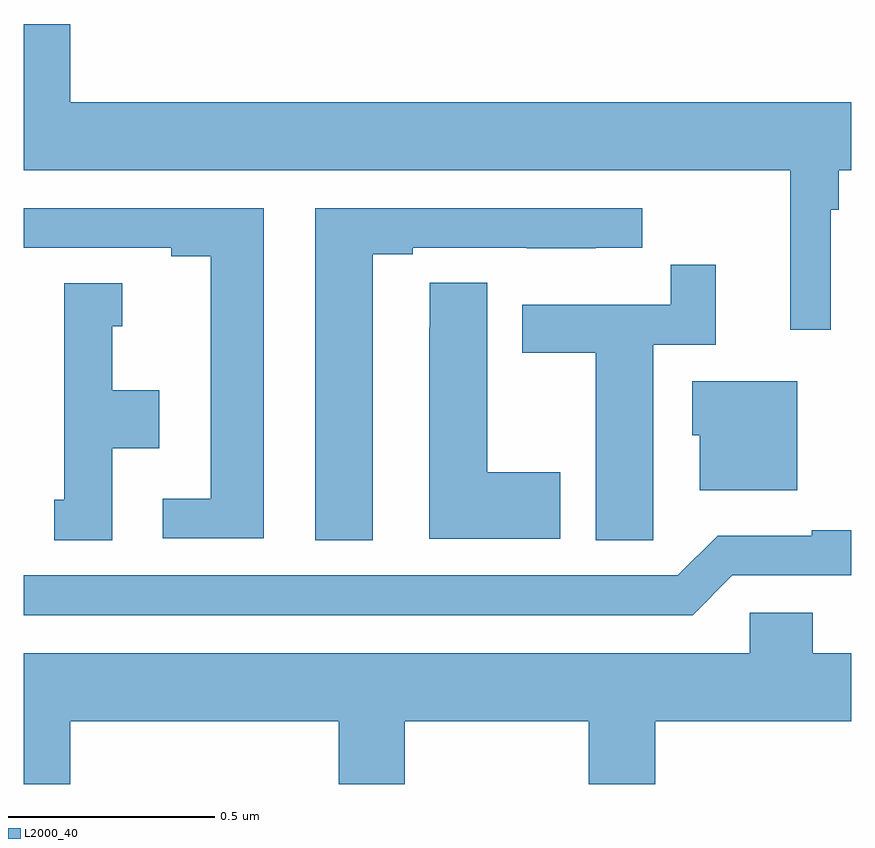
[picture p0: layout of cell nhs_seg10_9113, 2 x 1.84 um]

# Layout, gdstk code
import gdstk
lib = gdstk.Library(unit=1e-6, precision=1e-09)
def P(c, l, *ps):  # polygons
    for p in ps: c.add(gdstk.Polygon(p, *l))
L2000_40 = (2000, 40)

nhs_seg10_9113 = lib.new_cell('nhs_seg10_9113')
P(nhs_seg10_9113, L2000_40, [(226.95,1298.888),(226.97,1298.888),(226.97,1298.984),(227,1298.984),(227,1299.148),(225.112,1299.148),(225.112,1299.337),(225,1299.337),(225,1298.984),(226.853,1298.984),(226.853,1298.598),(226.95,1298.598)],
  [(225.58,1298.892),(225,1298.892),(225,1298.796),(225.356,1298.796),(225.356,1298.776),(225.452,1298.776),(225.452,1298.19),(225.336,1298.19),(225.336,1298.094),(225.58,1298.094)],
  [(225.844,1298.781),(225.94,1298.781),(225.94,1298.796),(226.216,1298.796),(226.216,1298.795),(226.382,1298.795),(226.382,1298.796),(226.495,1298.796),(226.495,1298.892),(225.704,1298.892),(225.704,1298.089),(225.844,1298.089)],
  [(226.521,1298.2),(226.522,1298.2),(226.522,1298.562),(226.673,1298.562),(226.673,1298.755),(226.564,1298.755),(226.564,1298.658),(226.205,1298.658),(226.205,1298.542),(226.382,1298.542),(226.382,1298.089),(226.521,1298.089)],
  [(226.297,1298.253),(226.12,1298.253),(226.12,1298.711),(225.981,1298.711),(225.981,1298.603),(225.98,1298.603),(225.98,1298.093),(226.297,1298.093)],
  [(225.214,1298.312),(225.328,1298.312),(225.328,1298.452),(225.214,1298.452),(225.214,1298.607),(225.238,1298.607),(225.238,1298.71),(225.098,1298.71),(225.098,1298.187),(225.074,1298.187),(225.074,1298.089),(225.214,1298.089)],
  [(226.87,1298.473),(226.616,1298.473),(226.616,1298.343),(226.634,1298.343),(226.634,1298.21),(226.87,1298.21)],
  [(226.713,1298.004),(227,1298.004),(227,1298.113),(226.904,1298.113),(226.904,1298.1),(226.677,1298.1),(226.581,1298.004),(225,1298.004),(225,1297.908),(226.617,1297.908)],
  [(225.112,1297.652),(225.761,1297.652),(225.761,1297.5),(225.921,1297.5),(225.921,1297.652),(226.366,1297.652),(226.366,1297.5),(226.526,1297.5),(226.526,1297.652),(227,1297.652),(227,1297.816),(226.907,1297.816),(226.907,1297.914),(226.755,1297.914),(226.755,1297.816),(225,1297.816),(225,1297.5),(225.112,1297.5)])

lib.write_gds('nhs_seg10_9113.gds')
